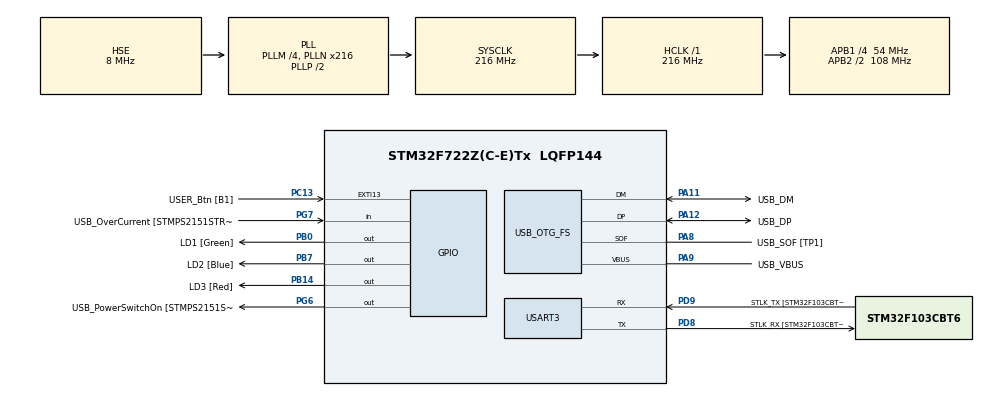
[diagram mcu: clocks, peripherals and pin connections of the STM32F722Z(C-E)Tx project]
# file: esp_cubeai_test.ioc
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CORTEX_M7.CPU_DCache=Enabled
CORTEX_M7.CPU_ICache=Enabled
Mcu.Family=STM32F7
Mcu.Name=STM32F722Z(C-E)Tx
Mcu.Package=LQFP144
NVIC.PriorityGroup=NVIC_PRIORITYGROUP_4
PA10.GPIO_Label=USB_ID
PA10.Signal=USB_OTG_FS_ID
PA11.GPIO_Label=USB_DM
PA11.Mode=Device_Only
PA11.Signal=USB_OTG_FS_DM
PA12.GPIO_Label=USB_DP
PA12.Mode=Device_Only
PA12.Signal=USB_OTG_FS_DP
PA13.GPIO_Label=TMS
PA13.Mode=Serial_Wire
PA13.Signal=SYS_JTMS-SWDIO
PA14.GPIO_Label=TCK
PA14.Mode=Serial_Wire
PA14.Signal=SYS_JTCK-SWCLK
PA8.GPIO_Label=USB_SOF [TP1]
PA8.Mode=Activate_SOF_FS
PA8.Signal=USB_OTG_FS_SOF
PA9.GPIO_Label=USB_VBUS
PA9.Mode=Activate_VBUS
PA9.Signal=USB_OTG_FS_VBUS
PB0.GPIO_Label=LD1 [Green]
PB0.Signal=GPIO_Output
PB14.GPIO_Label=LD3 [Red]
PB14.Signal=GPIO_Output
PB3.GPIO_Label=SWO
PB3.Signal=SYS_JTDO-SWO
PB7.GPIO_Label=LD2 [Blue]
PB7.Signal=GPIO_Output
PC13.GPIO_Label=USER_Btn [B1]
PC13.Signal=GPXTI13
PC14-OSC32_IN.Mode=LSE-External-Oscillator
PC14-OSC32_IN.Signal=RCC_OSC32_IN
PC15-OSC32_OUT.Mode=LSE-External-Oscillator
PC15-OSC32_OUT.Signal=RCC_OSC32_OUT
PD8.GPIO_Label=STLK_RX [STM32F103CBT6_PA3]
PD8.Mode=Asynchronous
PD8.Signal=USART3_TX
PD9.GPIO_Label=STLK_TX [STM32F103CBT6_PA2]
PD9.Mode=Asynchronous
PD9.Signal=USART3_RX
PG6.GPIO_Label=USB_PowerSwitchOn [STMPS2151STR_EN]
PG6.Signal=GPIO_Output
PG7.GPIO_Label=USB_OverCurrent [STMPS2151STR_FAULT]
PG7.Signal=GPIO_Input
PH0-OSC_IN.GPIO_Label=MCO
PH0-OSC_IN.Mode=HSE-External-Clock-Source
PH0-OSC_IN.Signal=RCC_OSC_IN
PH1-OSC_OUT.Mode=HSE-External-Clock-Source
PH1-OSC_OUT.Signal=RCC_OSC_OUT
ProjectManager.HeapSize=0x800
ProjectManager.StackSize=0x800
ProjectManager.TargetToolchain=STM32CubeIDE
RCC.48MHZClocksFreq_Value=24000000
RCC.AHBFreq_Value=216000000
RCC.APB1CLKDivider=RCC_HCLK_DIV4
RCC.APB1Freq_Value=54000000
RCC.APB1TimFreq_Value=108000000
RCC.APB2CLKDivider=RCC_HCLK_DIV2
RCC.APB2Freq_Value=108000000
RCC.APB2TimFreq_Value=216000000
RCC.CortexFreq_Value=216000000
RCC.HCLKFreq_Value=216000000
RCC.HSE_VALUE=8000000
RCC.HSI_VALUE=16000000
RCC.PLLM=4
RCC.PLLMUL=RCC_PLL_MUL9
RCC.PLLN=216
RCC.PLLQ=9
RCC.PRESCALERUSB=RCC_USBCLKSOURCE_PLL_DIV1_5
RCC.SYSCLKFreq_VALUE=216000000
RCC.SYSCLKSource=RCC_SYSCLKSOURCE_PLLCLK
RCC.SYSCLKSourceVirtual=RCC_SYSCLKSOURCE_PLLCLK
RCC.USBFreq_Value=48000000
RCC.VCOOutputFreq_Value=432000000
STMicroelectronics.X-CUBE-AI.9.0.0.ActivationBufferSizeList=19328
STMicroelectronics.X-CUBE-AI.9.0.0.ActivationBuffers=pool0
STMicroelectronics.X-CUBE-AI.9.0.0.ActivationNames=pool0
STMicroelectronics.X-CUBE-AI.9.0.0.ActivationSizes=AI_NETWORK_1_DATA_ACTIVATION_1_SIZE
STMicroelectronics.X-CUBE-AI.9.0.0.HeapSize=0x800
STMicroelectronics.X-CUBE-AI.9.0.0.InternalRamActivationBufferMaxSize=AI_NETWORK_1_DATA_ACTIVATIONS_SIZE
STMicroelectronics.X-CUBE-AI.9.0.0.LatestDirectoryUsed-55522f3c7afa01736325fed9601b545175361271c55efba789d469c971b7ab03=/Users/leon/STM32CubeIDE/workspace_1.14.0/nn-test
STMicroelectronics.X-CUBE-AI.9.0.0.MaximumNumberOfInputLayer=1
STMicroelectronics.X-CUBE-AI.9.0.0.MaximumNumberOfOutputLayer=1
STMicroelectronics.X-CUBE-AI.9.0.0.MaximumSizeOfInputLayer=1
STMicroelectronics.X-CUBE-AI.9.0.0.MaximumSizeOfOutputLayer=1
STMicroelectronics.X-CUBE-AI.9.0.0.ModelActualCompression-55522f3c7afa01736325fed9601b545175361271c55efba789d469c971b7ab03=0.0
STMicroelectronics.X-CUBE-AI.9.0.0.ModelCompression-55522f3c7afa01736325fed9601b545175361271c55efba789d469c971b7ab03=None
STMicroelectronics.X-CUBE-AI.9.0.0.ModelFlashOccupation-55522f3c7afa01736325fed9601b545175361271c55efba789d469c971b7ab03=68140
STMicroelectronics.X-CUBE-AI.9.0.0.ModelHashList=55522f3c7afa01736325fed9601b545175361271c55efba789d469c971b7ab03
STMicroelectronics.X-CUBE-AI.9.0.0.ModelKind-55522f3c7afa01736325fed9601b545175361271c55efba789d469c971b7ab03=TFLITE
STMicroelectronics.X-CUBE-AI.9.0.0.ModelMacc-55522f3c7afa01736325fed9601b545175361271c55efba789d469c971b7ab03=526726
STMicroelectronics.X-CUBE-AI.9.0.0.ModelName-55522f3c7afa01736325fed9601b545175361271c55efba789d469c971b7ab03=network_1
STMicroelectronics.X-CUBE-AI.9.0.0.ModelNameList=network_1
STMicroelectronics.X-CUBE-AI.9.0.0.ModelRamOccupation-55522f3c7afa01736325fed9601b545175361271c55efba789d469c971b7ab03=19328
STMicroelectronics.X-CUBE-AI.9.0.0.ModelStructureFile-55522f3c7afa01736325fed9601b545175361271c55efba789d469c971b7ab03=model.tflite
STMicroelectronics.X-CUBE-AI.9.0.0.ModelType-55522f3c7afa01736325fed9601b545175361271c55efba789d469c971b7ab03=STM32Cube.AI MCU runtime
STMicroelectronics.X-CUBE-AI.9.0.0.ReadyForCodeGeneration=true
STMicroelectronics.X-CUBE-AI.9.0.0.StackSize=0x800
STMicroelectronics.X-CUBE-AI.9.0.0.WorkingBufferStartAddrList=0xFFFFFFFF
STMicroelectronics.X-CUBE-AI.9.0.0.XAaCUBEAaAICcArtificialOoIntelligenceJjCore=true
STMicroelectronics.X-CUBE-AI.9.0.0.copyWeightToRam=false
STMicroelectronics.X-CUBE-AI.9.0.0.copyWeightToRam-55522f3c7afa01736325fed9601b545175361271c55efba789d469c971b7ab03=false
STMicroelectronics.X-CUBE-AI.9.0.0.customLayerConfigEnabled=false
STMicroelectronics.X-CUBE-AI.9.0.0.customLayerConfigEnabled-55522f3c7afa01736325fed9601b545175361271c55efba789d469c971b7ab03=false
STMicroelectronics.X-CUBE-AI.9.0.0.noOnnxIoTranspose=false
STMicroelectronics.X-CUBE-AI.9.0.0.noOnnxIoTranspose-55522f3c7afa01736325fed9601b545175361271c55efba789d469c971b7ab03=false
STMicroelectronics.X-CUBE-AI.9.0.0.outputDirectory=/Users/leon/.stm32cubemx/network_1_output
STMicroelectronics.X-CUBE-AI.9.0.0.useInputAllocation=true
STMicroelectronics.X-CUBE-AI.9.0.0.useInputAllocation-55522f3c7afa01736325fed9601b545175361271c55efba789d469c971b7ab03=true
STMicroelectronics.X-CUBE-AI.9.0.0.useOutputAllocation=true
STMicroelectronics.X-CUBE-AI.9.0.0.useOutputAllocation-55522f3c7afa01736325fed9601b545175361271c55efba789d469c971b7ab03=true
USART3.VirtualMode-Asynchronous=VM_ASYNC
USB_OTG_FS.VirtualMode=Device_Only
VP_CRC_VS_CRC.Mode=CRC_Activate
VP_STMicroelectronics.X-CUBE-AI_VS_ArtificialOoIntelligenceJjXAaCUBEAaAI_9.0.0.Mode=ArtificialOoIntelligenceJjXAaCUBEAaAI
VP_TIM2_VS_ClockSourceINT.Mode=Internal
VP_TIM3_VS_ClockSourceINT.Mode=Internal
board=NUCLEO-F722ZE

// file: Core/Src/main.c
/* USER CODE BEGIN Header */
/**
  ******************************************************************************
  * @file           : main.c
  * @brief          : Main program body
  ******************************************************************************
  * @attention
  *
  * Copyright (c) 2024 STMicroelectronics.
  * All rights reserved.
  *
  * This software is licensed under terms that can be found in the LICENSE file
  * in the root directory of this software component.
  * If no LICENSE file comes with this software, it is provided AS-IS.
  *
  ******************************************************************************
  */
/* USER CODE END Header */
#include "main.h"

/* USER CODE BEGIN Includes */
#include <stdio.h>
#include <stdlib.h>
#include "audio_classification.h"
#include "test_audio_data.h"
#include "utils.h"

//#include "audio_classification.h"
//#include "test_audio_data.h"

/* USER CODE END Includes */

CRC_HandleTypeDef hcrc;

TIM_HandleTypeDef htim2;
TIM_HandleTypeDef htim3;

UART_HandleTypeDef huart3;

PCD_HandleTypeDef hpcd_USB_OTG_FS;

/* USER CODE BEGIN PV */
static float32_t resampled_data[16896];
/* USER CODE END PV */

void SystemClock_Config(void);
static void MX_GPIO_Init(void);
static void MX_USART3_UART_Init(void);
static void MX_USB_OTG_FS_PCD_Init(void);
static void MX_TIM2_Init(void);
static void MX_TIM3_Init(void);
static void MX_CRC_Init(void);

int main(void)
{

  /* Enable the CPU Cache */

  /* Enable I-Cache---------------------------------------------------------*/
  SCB_EnableICache();

  /* Enable D-Cache---------------------------------------------------------*/
  SCB_EnableDCache();

  /* MCU Configuration--------------------------------------------------------*/

  /* Reset of all peripherals, Initializes the Flash interface and the Systick. */
  HAL_Init();

  /* USER CODE BEGIN Init */
  // enabling CRC clock for using AI libraries
  __HAL_RCC_CRC_CLK_ENABLE();
  EnableDWT();
  /* USER CODE END Init */

  /* Configure the system clock */
  SystemClock_Config();

  /* Initialize all configured peripherals */
  MX_GPIO_Init();
  MX_USART3_UART_Init();
  MX_USB_OTG_FS_PCD_Init();
  MX_TIM2_Init();
  MX_TIM3_Init();
  MX_CRC_Init();
  /* USER CODE BEGIN 2 */
  if (init_nn() != 0) {
	printf("Failed to initialize neural network\n");
	return -1;
  }

  Preprocessing_Init();
  // Platzhalter fuer Audio Resampling. Hier: Umwandeln von Short in Float
  for (int i = 0; i < audio_data_length; i++) {
    resampled_data[i] = audio_data[i] / 32768.0f;
  }

  // Frame die resampleten Daten
  frame_subsamples(resampled_data);
  //test_call_classification(resampled_data);

  /* USER CODE END 2 */

  /* Infinite loop */
  while (1)
  {

  }
}

void SystemClock_Config(void)
{
  RCC_OscInitTypeDef RCC_OscInitStruct = {0};
  RCC_ClkInitTypeDef RCC_ClkInitStruct = {0};

  /** Configure LSE Drive Capability
  */
  HAL_PWR_EnableBkUpAccess();

  /** Configure the main internal regulator output voltage
  */
  __HAL_RCC_PWR_CLK_ENABLE();
  __HAL_PWR_VOLTAGESCALING_CONFIG(PWR_REGULATOR_VOLTAGE_SCALE1);

  /** Initializes the RCC Oscillators according to the specified parameters
  * in the RCC_OscInitTypeDef structure.
  */
  RCC_OscInitStruct.OscillatorType = RCC_OSCILLATORTYPE_HSE;
  RCC_OscInitStruct.HSEState = RCC_HSE_BYPASS;
  RCC_OscInitStruct.PLL.PLLState = RCC_PLL_ON;
  RCC_OscInitStruct.PLL.PLLSource = RCC_PLLSOURCE_HSE;
  RCC_OscInitStruct.PLL.PLLM = 4;
  RCC_OscInitStruct.PLL.PLLN = 216;
  RCC_OscInitStruct.PLL.PLLP = RCC_PLLP_DIV2;
  RCC_OscInitStruct.PLL.PLLQ = 9;
  if (HAL_RCC_OscConfig(&RCC_OscInitStruct) != HAL_OK)
  {
    Error_Handler();
  }

  /** Activate the Over-Drive mode
  */
  if (HAL_PWREx_EnableOverDrive() != HAL_OK)
  {
    Error_Handler();
  }

  /** Initializes the CPU, AHB and APB buses clocks
  */
  RCC_ClkInitStruct.ClockType = RCC_CLOCKTYPE_HCLK|RCC_CLOCKTYPE_SYSCLK
                              |RCC_CLOCKTYPE_PCLK1|RCC_CLOCKTYPE_PCLK2;
  RCC_ClkInitStruct.SYSCLKSource = RCC_SYSCLKSOURCE_PLLCLK;
  RCC_ClkInitStruct.AHBCLKDivider = RCC_SYSCLK_DIV1;
  RCC_ClkInitStruct.APB1CLKDivider = RCC_HCLK_DIV4;
  RCC_ClkInitStruct.APB2CLKDivider = RCC_HCLK_DIV2;

  if (HAL_RCC_ClockConfig(&RCC_ClkInitStruct, FLASH_LATENCY_7) != HAL_OK)
  {
    Error_Handler();
  }
}

static void MX_CRC_Init(void)
{

  hcrc.Instance = CRC;
  hcrc.Init.DefaultPolynomialUse = DEFAULT_POLYNOMIAL_ENABLE;
  hcrc.Init.DefaultInitValueUse = DEFAULT_INIT_VALUE_ENABLE;
  hcrc.Init.InputDataInversionMode = CRC_INPUTDATA_INVERSION_NONE;
  hcrc.Init.OutputDataInversionMode = CRC_OUTPUTDATA_INVERSION_DISABLE;
  hcrc.InputDataFormat = CRC_INPUTDATA_FORMAT_BYTES;
  if (HAL_CRC_Init(&hcrc) != HAL_OK)
  {
    Error_Handler();
  }

}

static void MX_TIM2_Init(void)
{

  TIM_ClockConfigTypeDef sClockSourceConfig = {0};
  TIM_MasterConfigTypeDef sMasterConfig = {0};

  htim2.Instance = TIM2;
  htim2.Init.Prescaler = 0;
  htim2.Init.CounterMode = TIM_COUNTERMODE_UP;
  htim2.Init.Period = 4294967295;
  htim2.Init.ClockDivision = TIM_CLOCKDIVISION_DIV1;
  htim2.Init.AutoReloadPreload = TIM_AUTORELOAD_PRELOAD_DISABLE;
  if (HAL_TIM_Base_Init(&htim2) != HAL_OK)
  {
    Error_Handler();
  }
  sClockSourceConfig.ClockSource = TIM_CLOCKSOURCE_INTERNAL;
  if (HAL_TIM_ConfigClockSource(&htim2, &sClockSourceConfig) != HAL_OK)
  {
    Error_Handler();
  }
  sMasterConfig.MasterOutputTrigger = TIM_TRGO_RESET;
  sMasterConfig.MasterSlaveMode = TIM_MASTERSLAVEMODE_DISABLE;
  if (HAL_TIMEx_MasterConfigSynchronization(&htim2, &sMasterConfig) != HAL_OK)
  {
    Error_Handler();
  }

}

static void MX_TIM3_Init(void)
{

  TIM_ClockConfigTypeDef sClockSourceConfig = {0};
  TIM_MasterConfigTypeDef sMasterConfig = {0};

  htim3.Instance = TIM3;
  htim3.Init.Prescaler = 0;
  htim3.Init.CounterMode = TIM_COUNTERMODE_UP;
  htim3.Init.Period = 65535;
  htim3.Init.ClockDivision = TIM_CLOCKDIVISION_DIV1;
  htim3.Init.AutoReloadPreload = TIM_AUTORELOAD_PRELOAD_DISABLE;
  if (HAL_TIM_Base_Init(&htim3) != HAL_OK)
  {
    Error_Handler();
  }
  sClockSourceConfig.ClockSource = TIM_CLOCKSOURCE_INTERNAL;
  if (HAL_TIM_ConfigClockSource(&htim3, &sClockSourceConfig) != HAL_OK)
  {
    Error_Handler();
  }
  sMasterConfig.MasterOutputTrigger = TIM_TRGO_RESET;
  sMasterConfig.MasterSlaveMode = TIM_MASTERSLAVEMODE_DISABLE;
  if (HAL_TIMEx_MasterConfigSynchronization(&htim3, &sMasterConfig) != HAL_OK)
  {
    Error_Handler();
  }

}

static void MX_USART3_UART_Init(void)
{

  huart3.Instance = USART3;
  huart3.Init.BaudRate = 115200;
  huart3.Init.WordLength = UART_WORDLENGTH_8B;
  huart3.Init.StopBits = UART_STOPBITS_1;
  huart3.Init.Parity = UART_PARITY_NONE;
  huart3.Init.Mode = UART_MODE_TX_RX;
  huart3.Init.HwFlowCtl = UART_HWCONTROL_NONE;
  huart3.Init.OverSampling = UART_OVERSAMPLING_16;
  huart3.Init.OneBitSampling = UART_ONE_BIT_SAMPLE_DISABLE;
  huart3.AdvancedInit.AdvFeatureInit = UART_ADVFEATURE_NO_INIT;
  if (HAL_UART_Init(&huart3) != HAL_OK)
  {
    Error_Handler();
  }

}

static void MX_USB_OTG_FS_PCD_Init(void)
{

  hpcd_USB_OTG_FS.Instance = USB_OTG_FS;
  hpcd_USB_OTG_FS.Init.dev_endpoints = 6;
  hpcd_USB_OTG_FS.Init.speed = PCD_SPEED_FULL;
  hpcd_USB_OTG_FS.Init.dma_enable = DISABLE;
  hpcd_USB_OTG_FS.Init.phy_itface = PCD_PHY_EMBEDDED;
  hpcd_USB_OTG_FS.Init.Sof_enable = ENABLE;
  hpcd_USB_OTG_FS.Init.low_power_enable = DISABLE;
  hpcd_USB_OTG_FS.Init.lpm_enable = DISABLE;
  hpcd_USB_OTG_FS.Init.battery_charging_enable = ENABLE;
  hpcd_USB_OTG_FS.Init.vbus_sensing_enable = ENABLE;
  hpcd_USB_OTG_FS.Init.use_dedicated_ep1 = DISABLE;
  if (HAL_PCD_Init(&hpcd_USB_OTG_FS) != HAL_OK)
  {
    Error_Handler();
  }

}

static void MX_GPIO_Init(void)
{
  GPIO_InitTypeDef GPIO_InitStruct = {0};

  /* GPIO Ports Clock Enable */
  __HAL_RCC_GPIOC_CLK_ENABLE();
  __HAL_RCC_GPIOH_CLK_ENABLE();
  __HAL_RCC_GPIOB_CLK_ENABLE();
  __HAL_RCC_GPIOD_CLK_ENABLE();
  __HAL_RCC_GPIOG_CLK_ENABLE();
  __HAL_RCC_GPIOA_CLK_ENABLE();

  /*Configure GPIO pin Output Level */
  HAL_GPIO_WritePin(GPIOB, LD1_Pin|LD3_Pin|LD2_Pin, GPIO_PIN_RESET);

  /*Configure GPIO pin Output Level */
  HAL_GPIO_WritePin(USB_PowerSwitchOn_GPIO_Port, USB_PowerSwitchOn_Pin, GPIO_PIN_RESET);

  /*Configure GPIO pin : USER_Btn_Pin */
  GPIO_InitStruct.Pin = USER_Btn_Pin;
  GPIO_InitStruct.Mode = GPIO_MODE_IT_RISING;
  GPIO_InitStruct.Pull = GPIO_NOPULL;
  HAL_GPIO_Init(USER_Btn_GPIO_Port, &GPIO_InitStruct);

  /*Configure GPIO pins : LD1_Pin LD3_Pin LD2_Pin */
  GPIO_InitStruct.Pin = LD1_Pin|LD3_Pin|LD2_Pin;
  GPIO_InitStruct.Mode = GPIO_MODE_OUTPUT_PP;
  GPIO_InitStruct.Pull = GPIO_NOPULL;
  GPIO_InitStruct.Speed = GPIO_SPEED_FREQ_LOW;
  HAL_GPIO_Init(GPIOB, &GPIO_InitStruct);

  /*Configure GPIO pin : USB_PowerSwitchOn_Pin */
  GPIO_InitStruct.Pin = USB_PowerSwitchOn_Pin;
  GPIO_InitStruct.Mode = GPIO_MODE_OUTPUT_PP;
  GPIO_InitStruct.Pull = GPIO_NOPULL;
  GPIO_InitStruct.Speed = GPIO_SPEED_FREQ_LOW;
  HAL_GPIO_Init(USB_PowerSwitchOn_GPIO_Port, &GPIO_InitStruct);

  /*Configure GPIO pin : USB_OverCurrent_Pin */
  GPIO_InitStruct.Pin = USB_OverCurrent_Pin;
  GPIO_InitStruct.Mode = GPIO_MODE_INPUT;
  GPIO_InitStruct.Pull = GPIO_NOPULL;
  HAL_GPIO_Init(USB_OverCurrent_GPIO_Port, &GPIO_InitStruct);

}

void Error_Handler(void)
{
  __disable_irq();
  while (1)
  {
  }
}
